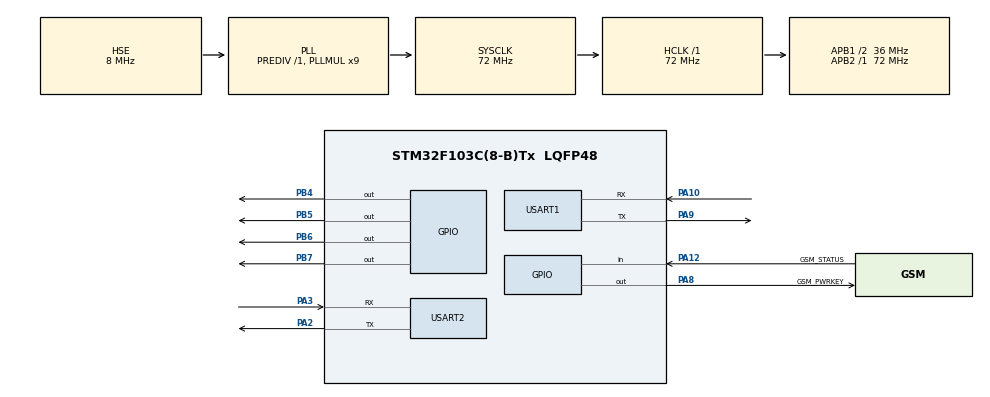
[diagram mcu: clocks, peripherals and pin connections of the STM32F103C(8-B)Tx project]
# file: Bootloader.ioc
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Mcu.Family=STM32F1
Mcu.Name=STM32F103C(8-B)Tx
Mcu.Package=LQFP48
NVIC.PriorityGroup=NVIC_PRIORITYGROUP_4
NVIC.TIM2_IRQn=true\:1\:0\:true\:false\:true\:true\:true
NVIC.TIM3_IRQn=true\:1\:0\:true\:false\:true\:true\:true
NVIC.USART2_IRQn=true\:2\:0\:true\:false\:true\:true\:true
PA10.Mode=Asynchronous
PA10.Signal=USART1_RX
PA12.GPIO_Label=GSM_STATUS
PA12.Signal=GPIO_Input
PA13.Mode=Serial_Wire
PA13.Signal=SYS_JTMS-SWDIO
PA14.Mode=Serial_Wire
PA14.Signal=SYS_JTCK-SWCLK
PA2.Mode=Asynchronous
PA2.Signal=USART2_TX
PA3.Mode=Asynchronous
PA3.Signal=USART2_RX
PA8.GPIO_Label=GSM_PWRKEY
PA8.Signal=GPIO_Output
PA9.Mode=Asynchronous
PA9.Signal=USART1_TX
PB4.GPIO_ModeDefaultOutputPP=GPIO_MODE_OUTPUT_PP
PB4.GPIO_PuPd=GPIO_NOPULL
PB4.GPIO_Speed=GPIO_SPEED_FREQ_HIGH
PB4.PinState=GPIO_PIN_SET
PB4.Signal=GPIO_Output
PB5.GPIO_ModeDefaultOutputPP=GPIO_MODE_OUTPUT_PP
PB5.GPIO_PuPd=GPIO_NOPULL
PB5.GPIO_Speed=GPIO_SPEED_FREQ_HIGH
PB5.PinState=GPIO_PIN_SET
PB5.Signal=GPIO_Output
PB6.GPIO_ModeDefaultOutputPP=GPIO_MODE_OUTPUT_PP
PB6.GPIO_PuPd=GPIO_NOPULL
PB6.GPIO_Speed=GPIO_SPEED_FREQ_HIGH
PB6.PinState=GPIO_PIN_SET
PB6.Signal=GPIO_Output
PB7.GPIO_ModeDefaultOutputPP=GPIO_MODE_OUTPUT_PP
PB7.GPIO_PuPd=GPIO_NOPULL
PB7.GPIO_Speed=GPIO_SPEED_FREQ_HIGH
PB7.PinState=GPIO_PIN_SET
PB7.Signal=GPIO_Output
PD0-OSC_IN.Mode=HSE-External-Oscillator
PD0-OSC_IN.Signal=RCC_OSC_IN
PD1-OSC_OUT.Mode=HSE-External-Oscillator
PD1-OSC_OUT.Signal=RCC_OSC_OUT
ProjectManager.HeapSize=0x200
ProjectManager.StackSize=0x400
ProjectManager.TargetToolchain=Makefile
RCC.AHBFreq_Value=72000000
RCC.APB1CLKDivider=RCC_HCLK_DIV2
RCC.APB1Freq_Value=36000000
RCC.APB1TimFreq_Value=72000000
RCC.APB2Freq_Value=72000000
RCC.APB2TimFreq_Value=72000000
RCC.HCLKFreq_Value=72000000
RCC.PLLMUL=RCC_PLL_MUL9
RCC.PLLSourceVirtual=RCC_PLLSOURCE_HSE
RCC.SYSCLKFreq_VALUE=72000000
RCC.SYSCLKSource=RCC_SYSCLKSOURCE_PLLCLK
RCC.USBFreq_Value=72000000
TIM2.Period=999
TIM2.Prescaler=7199
TIM3.AutoReloadPreload=TIM_AUTORELOAD_PRELOAD_DISABLE
TIM3.Period=49999
TIM3.Prescaler=14399
USART1.VirtualMode=VM_ASYNC
USART2.VirtualMode=VM_ASYNC
VP_TIM2_VS_ClockSourceINT.Mode=Internal
VP_TIM3_VS_ClockSourceINT.Mode=Internal
board=custom

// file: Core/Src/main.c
/* USER CODE BEGIN Header */
/**
  ******************************************************************************
  * @file           : main.c
  * @brief          : Main program body
  ******************************************************************************
  * @attention
  *
  * <h2><center>&copy; Copyright (c) 2022 STMicroelectronics.
  * All rights reserved.</center></h2>
  *
  * This software component is licensed by ST under BSD 3-Clause license,
  * the "License"; You may not use this file except in compliance with the
  * License. You may obtain a copy of the License at:
  *                        opensource.org/licenses/BSD-3-Clause
  *
  ******************************************************************************
  */
/* USER CODE END Header */
#include "main.h"
#include "tim.h"
#include "usart.h"
#include "gpio.h"

/* USER CODE BEGIN Includes */
#include "sim800c.h"
#include "boot_loader.h"
/* USER CODE END Includes */

void SystemClock_Config(void);

/* USER CODE BEGIN 0 */
const char url[] = "http://otadrive.com/deviceapi/update?";
const char apikey[] = "74b02c65-2a56-4698-a073-3126268332a7";
const char version[] = "1.0.0.0";
const char chipID[] = "382002";
char link[100] = {0};
bool is_sim_on = true;
void HAL_UART_RxCpltCallback(UART_HandleTypeDef *huart)
{
  if(huart == &huart2)
  {
    sim800c_callback();
  }
}

void HAL_TIM_PeriodElapsedCallback(TIM_HandleTypeDef *htim)
{
  if(htim == &htim3)
  {
    sim800c_timer3Callback();
  }
  else if(htim == &htim2)
  {
    sim800c_timer2Callback();
  }
}
/* USER CODE END 0 */

int main(void)
{

  /* MCU Configuration--------------------------------------------------------*/

  /* Reset of all peripherals, Initializes the Flash interface and the Systick. */
  HAL_Init();

  /* Configure the system clock */
  SystemClock_Config();

  /* Initialize all configured peripherals */
  MX_GPIO_Init();
  MX_TIM2_Init();
  MX_USART2_UART_Init();
  MX_USART1_UART_Init();
  MX_TIM3_Init();
  /* USER CODE BEGIN 2 */
  while(HAL_GPIO_ReadPin(GSM_STATUS_GPIO_Port, GSM_STATUS_Pin) == GPIO_PIN_RESET)
  {
    HAL_GPIO_WritePin(GSM_PWRKEY_GPIO_Port, GSM_PWRKEY_Pin, SET);
    HAL_Delay(1000);
    is_sim_on = false;
  }
  sim800c_init();
  HAL_Delay(100);
  sim800c_initHTTP();
  sprintf(link, "%sk=%s&v=%s&s=%s", url, apikey, version, chipID);
  sim800c_connectServer(link);
  HAL_Delay(1000);
  sim800c_startOTA();
  /* USER CODE END 2 */

  /* Infinite loop */
  while (1)
  {

  }
}

void SystemClock_Config(void)
{
  RCC_OscInitTypeDef RCC_OscInitStruct = {0};
  RCC_ClkInitTypeDef RCC_ClkInitStruct = {0};

  /** Initializes the RCC Oscillators according to the specified parameters
  * in the RCC_OscInitTypeDef structure.
  */
  RCC_OscInitStruct.OscillatorType = RCC_OSCILLATORTYPE_HSE;
  RCC_OscInitStruct.HSEState = RCC_HSE_ON;
  RCC_OscInitStruct.HSEPredivValue = RCC_HSE_PREDIV_DIV1;
  RCC_OscInitStruct.HSIState = RCC_HSI_ON;
  RCC_OscInitStruct.PLL.PLLState = RCC_PLL_ON;
  RCC_OscInitStruct.PLL.PLLSource = RCC_PLLSOURCE_HSE;
  RCC_OscInitStruct.PLL.PLLMUL = RCC_PLL_MUL9;
  if (HAL_RCC_OscConfig(&RCC_OscInitStruct) != HAL_OK)
  {
    Error_Handler();
  }
  /** Initializes the CPU, AHB and APB buses clocks
  */
  RCC_ClkInitStruct.ClockType = RCC_CLOCKTYPE_HCLK|RCC_CLOCKTYPE_SYSCLK
                              |RCC_CLOCKTYPE_PCLK1|RCC_CLOCKTYPE_PCLK2;
  RCC_ClkInitStruct.SYSCLKSource = RCC_SYSCLKSOURCE_PLLCLK;
  RCC_ClkInitStruct.AHBCLKDivider = RCC_SYSCLK_DIV1;
  RCC_ClkInitStruct.APB1CLKDivider = RCC_HCLK_DIV2;
  RCC_ClkInitStruct.APB2CLKDivider = RCC_HCLK_DIV1;

  if (HAL_RCC_ClockConfig(&RCC_ClkInitStruct, FLASH_LATENCY_2) != HAL_OK)
  {
    Error_Handler();
  }
}

void Error_Handler(void)
{
  __disable_irq();
  while (1)
  {
  }
}

/************************ (C) COPYRIGHT STMicroelectronics *****END OF FILE****/
